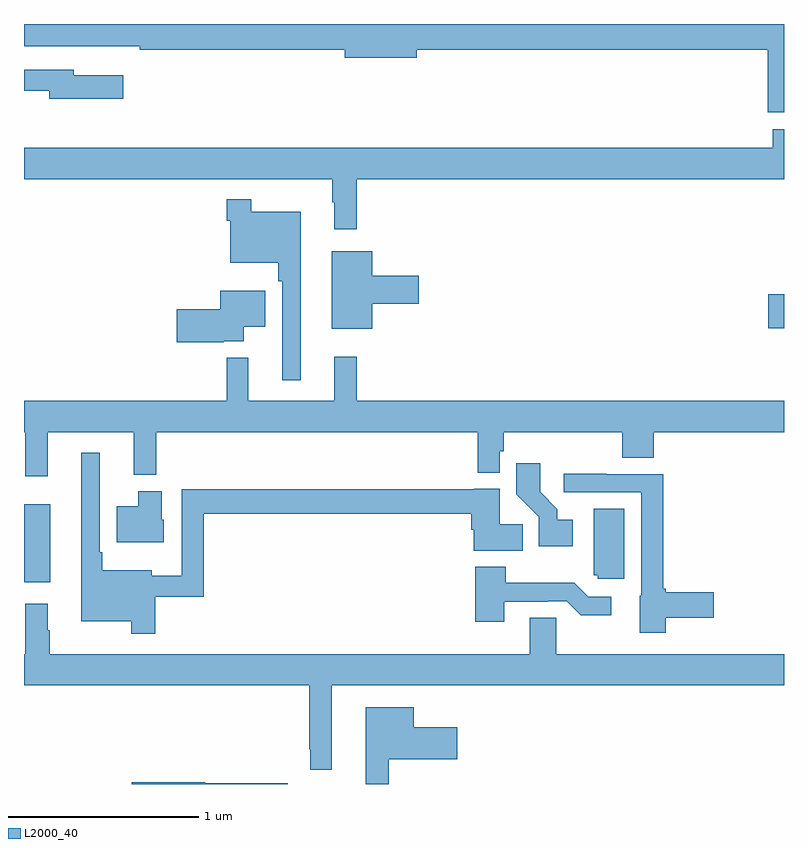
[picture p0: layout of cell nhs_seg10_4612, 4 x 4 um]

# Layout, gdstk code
import gdstk
lib = gdstk.Library(unit=1e-6, precision=1e-09)
def R(c, l, rs):  # rectangles x0, y0, x1, y1
    for r in rs: c.add(gdstk.rectangle(r[:2], r[2:], *l))
def P(c, l, *ps):  # polygons
    for p in ps: c.add(gdstk.Polygon(p, *l))
L2000_40 = (2000, 40)

nhs_seg10_4612 = lib.new_cell('nhs_seg10_4612')
R(nhs_seg10_4612, L2000_40, [(375,1263.563,375.139,1263.973), (378.918,1264.9,379,1265.078)])
P(nhs_seg10_4612, L2000_40, [(379,1266.5),(375,1266.5),(375,1266.384),(375.358,1266.384),(375.358,1266.383),(375.61,1266.383),(375.61,1266.364),(376.688,1266.364),(376.688,1266.322),(377.068,1266.322),(377.068,1266.364),(378.914,1266.364),(378.914,1266.035),(379,1266.035)],
  [(375.523,1266.229),(375.262,1266.229),(375.262,1266.258),(375,1266.258),(375,1266.15),(375.134,1266.15),(375.134,1266.107),(375.523,1266.107)],
  [(376.751,1265.684),(379,1265.684),(379,1265.947),(378.941,1265.947),(378.941,1265.848),(375,1265.848),(375,1265.684),(376.623,1265.684),(376.623,1265.561),(376.634,1265.561),(376.634,1265.421),(376.751,1265.421)],
  [(376.456,1265.512),(376.195,1265.512),(376.195,1265.578),(376.066,1265.578),(376.066,1265.465),(376.086,1265.465),(376.086,1265.243),(376.339,1265.243),(376.339,1265.147),(376.359,1265.147),(376.359,1264.626),(376.456,1264.626)],
  [(376.834,1265.027),(377.077,1265.027),(377.077,1265.174),(376.834,1265.174),(376.834,1265.305),(376.619,1265.305),(376.619,1264.895),(376.834,1264.895)],
  [(376.052,1264.829),(376.156,1264.829),(376.156,1264.907),(376.27,1264.907),(376.27,1265.095),(376.034,1265.095),(376.034,1265),(375.804,1265),(375.804,1264.824),(376.052,1264.824)],
  [(377.389,1264.139),(377.505,1264.139),(377.505,1264.251),(377.525,1264.251),(377.525,1264.352),(378.149,1264.352),(378.149,1264.216),(378.314,1264.216),(378.314,1264.352),(379,1264.352),(379,1264.516),(376.751,1264.516),(376.751,1264.75),(376.634,1264.75),(376.634,1264.516),(376.181,1264.516),(376.181,1264.744),(376.067,1264.744),(376.067,1264.516),(375,1264.516),(375,1264.352),(375.007,1264.352),(375.007,1264.119),(375.125,1264.119),(375.125,1264.352),(375.578,1264.352),(375.578,1264.127),(375.695,1264.127),(375.695,1264.352),(377.389,1264.352)],
  [(375.692,1263.486),(375.947,1263.486),(375.947,1263.922),(377.354,1263.922),(377.354,1263.839),(377.366,1263.839),(377.366,1263.728),(377.624,1263.728),(377.624,1263.866),(377.503,1263.866),(377.503,1264.054),(377.37,1264.054),(377.37,1264.051),(375.831,1264.051),(375.831,1263.595),(375.673,1263.595),(375.673,1263.625),(375.412,1263.625),(375.412,1263.721),(375.399,1263.721),(375.399,1264.243),(375.302,1264.243),(375.302,1263.356),(375.564,1263.356),(375.564,1263.291),(375.692,1263.291)],
  [(377.887,1263.892),(377.806,1263.892),(377.806,1263.947),(377.716,1264.037),(377.716,1264.189),(377.59,1264.189),(377.59,1264.026),(377.709,1263.907),(377.709,1263.752),(377.887,1263.752)],
  [(378.378,1263.374),(378.631,1263.374),(378.631,1263.509),(378.378,1263.509),(378.378,1263.527),(378.365,1263.527),(378.365,1264.131),(378.065,1264.131),(378.065,1264.134),(377.841,1264.134),(377.841,1264.035),(378.249,1264.035),(378.249,1263.492),(378.242,1263.492),(378.242,1263.296),(378.378,1263.296)],
  [(375.736,1263.891),(375.724,1263.891),(375.724,1264.042),(375.602,1264.042),(375.602,1263.961),(375.488,1263.961),(375.488,1263.773),(375.736,1263.773)],
  [(378.16,1263.949),(377.999,1263.949),(377.999,1263.6),(378.021,1263.6),(378.021,1263.579),(378.16,1263.579)],
  [(377.527,1263.459),(377.756,1263.459),(377.756,1263.462),(377.856,1263.462),(377.929,1263.389),(378.091,1263.389),(378.091,1263.486),(377.97,1263.486),(377.897,1263.559),(377.535,1263.559),(377.535,1263.643),(377.375,1263.643),(377.375,1263.354),(377.527,1263.354)],
  [(376.621,1263.02),(379,1263.02),(379,1263.184),(377.802,1263.184),(377.802,1263.374),(377.663,1263.374),(377.663,1263.184),(375.136,1263.184),(375.136,1263.308),(375.124,1263.308),(375.124,1263.448),(375.007,1263.448),(375.007,1263.184),(375,1263.184),(375,1263.02),(376.5,1263.02),(376.5,1262.683),(376.506,1262.683),(376.506,1262.576),(376.621,1262.576)],
  [(376.921,1262.63),(377.281,1262.63),(377.281,1262.8),(377.05,1262.8),(377.05,1262.905),(376.799,1262.905),(376.799,1262.5),(376.921,1262.5)],
  [(376.388,1262.504),(375.954,1262.504),(375.954,1262.51),(375.566,1262.51),(375.566,1262.5),(376.388,1262.5)])

lib.write_gds('nhs_seg10_4612.gds')
